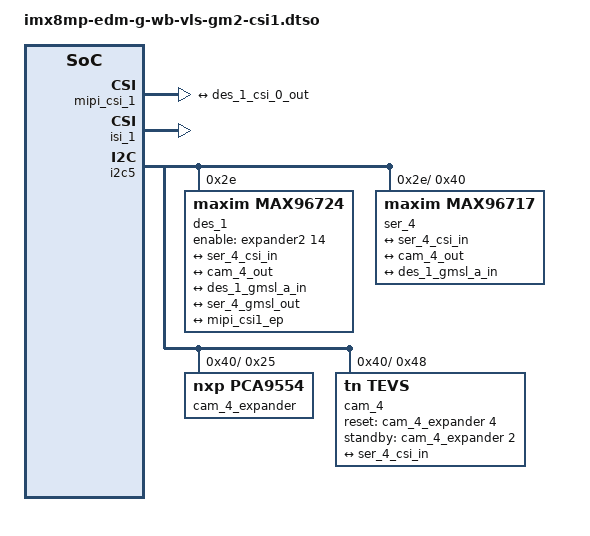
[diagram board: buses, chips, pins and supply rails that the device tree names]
// SPDX-License-Identifier: (GPL-2.0 OR MIT)
/*
 * Copyright 2026 TechNexion Ltd.
 *
 */

/dts-v1/;
/plugin/;

#include <dt-bindings/interrupt-controller/irq.h>
#include <dt-bindings/clock/imx8mp-clock.h>
#include <dt-bindings/gpio/gpio.h>

/*
 * MIPI CSI hs_settle = (lane_rate - 5 MHz) / 45 MHz
 *                    = (1500 - 5) / 45
 *                    = 33
 */
&mipi_csi_1 {
	#address-cells = <1>;
	#size-cells = <0>;
	status = "okay";

	port@1 {
		reg = <1>;
		mipi_csi1_ep: endpoint {
			remote-endpoint = <&des_1_csi_0_out>;
			data-lanes = <4>;
			csis-hs-settle = <33>;
			csis-clk-settle = <2>;
		};
	};
};

&isi_1 {
	status = "okay";

	cap_device {
		status = "okay";
		fsl,stream-on-downstream-first;
	};
};

&i2c5 {
	#address-cells = <1>;
	#size-cells = <0>;

	des_1: max96724@2e {
		compatible = "maxim,max96724";
		reg = <0x2e>;
		status = "okay";

		#address-cells = <1>;
		#size-cells = <0>;

		enable-gpios = <&expander2 14 GPIO_ACTIVE_HIGH>;

		i2c-alias-pool = <0x41 0x42 0x43 0x44>;

		i2c-atr {
			#address-cells = <1>;
			#size-cells = <0>;

			des_1_i2c_0: i2c@0 {
				#address-cells = <1>;
				#size-cells = <0>;
				reg = <0>;
			};
		};

		ports {
			#address-cells = <1>;
			#size-cells = <0>;

			port@0 {
				#address-cells = <1>;
				#size-cells = <0>;
				reg = <0>;

				des_1_gmsl_a_in: endpoint@0 {
					remote-endpoint = <&ser_4_gmsl_out>;
				};
			};

			port@4 {
				#address-cells = <1>;
				#size-cells = <0>;
				reg = <4>;

				des_1_csi_0_out: endpoint@0 {
					data-lanes = <1 2 3 4>;
					clock-lanes = <0>;
					bus-type = <4>;
					link-frequencies = /bits/ 64 <750000000>;
					remote-endpoint = <&mipi_csi1_ep>;
				};
			};
		};
	};
};

&des_1_i2c_0 {
	ser_4: serializer@40 {
		compatible = "maxim,max96717";
		reg = <0x40>;

		gpio-controller;
		#gpio-cells = <2>;
		#clock-cells = <0>;

		i2c-alias-pool = <0x29 0x49>;

		pinctrl-names = "default";
		pinctrl-0 = <&ser_4_fsync>;

		ser_4_fsync: mfp0-pins {
			pins = "mfp0";
			function = "gpio";
			maxim,rx-id = <0>;
			output-enable;
			output-low;
		};

		i2c-atr {
			#address-cells = <1>;
			#size-cells = <0>;

			i2c@0 {
				#address-cells = <1>;
				#size-cells = <0>;
				reg = <0>;

				cam_4_expander: pca9554@25 {
					compatible = "nxp,pca9554";
					reg = <0x25>;
					gpio-controller;
					#gpio-cells = <2>;
					gpio-line-names = "EXPOSURE_TRIG_IN",
									"FLASH_OUT",
									"INFO_TRIG_IN",
									"CAMA_SHUTTER",
									"CSI_P1_nRST",
									"PWR_TIME0",
									"PWR_TIME1",
									"3V3_EN";
					status = "okay";
				};

				cam_4: tevs@48 {
					compatible = "tn,tevs";
					reg = <0x48>;
					status = "okay";

					reset-gpios = <&cam_4_expander 4 GPIO_ACTIVE_HIGH>;
					standby-gpios = <&cam_4_expander 2 GPIO_ACTIVE_HIGH>;

					port {
						cam_4_out: endpoint {
							remote-endpoint = <&ser_4_csi_in>;
							data-lanes = <1 2 3 4>;
							clock-lanes = <0>;
							clock-noncontinuous;
							link-frequencies = /bits/ 64 <400000000>;
						};
					};
				};
			};
		};

		ports {
			#address-cells = <1>;
			#size-cells = <0>;

			port@0 {
				#address-cells = <1>;
				#size-cells = <0>;
				reg = <0>;
				ser_4_csi_in: endpoint {
					data-lanes = <1 2 3 4>;
					clock-noncontinuous;
					remote-endpoint = <&cam_4_out>;
				};
			};

			port@1 {
				reg = <1>;
				ser_4_gmsl_out: endpoint {
					remote-endpoint = <&des_1_gmsl_a_in>;
				};
			};
		};
	};
};
